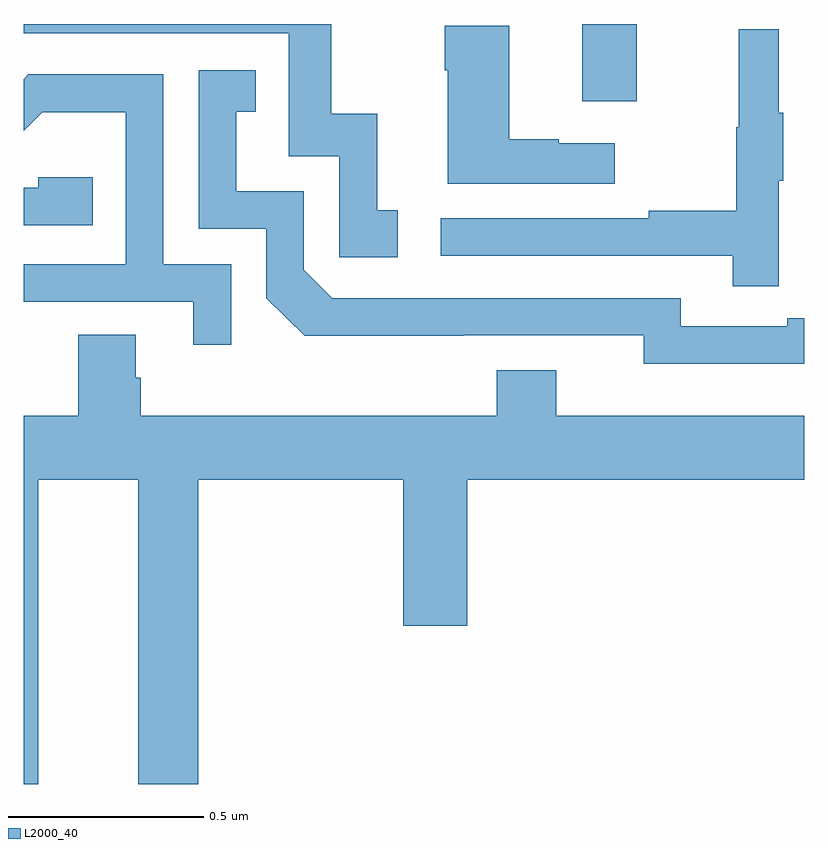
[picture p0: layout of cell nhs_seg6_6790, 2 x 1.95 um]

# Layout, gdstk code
import gdstk
lib = gdstk.Library(unit=1e-6, precision=1e-09)
def R(c, l, rs):  # rectangles x0, y0, x1, y1
    for r in rs: c.add(gdstk.rectangle(r[:2], r[2:], *l))
def P(c, l, *ps):  # polygons
    for p in ps: c.add(gdstk.Polygon(p, *l))
L2000_40 = (2000, 40)

nhs_seg6_6790 = lib.new_cell('nhs_seg6_6790')
R(nhs_seg6_6790, L2000_40, [(201.431,952.302,201.571,952.5)])
P(nhs_seg6_6790, L2000_40, [(200.959,952.023),(200.906,952.023),(200.906,952.27),(200.788,952.27),(200.788,952.5),(200,952.5),(200,952.476),(200.679,952.476),(200.679,952.161),(200.808,952.161),(200.808,951.903),(200.959,951.903)],
  [(201.514,952.195),(201.371,952.195),(201.371,952.205),(201.244,952.205),(201.244,952.495),(201.079,952.495),(201.079,952.382),(201.086,952.382),(201.086,952.091),(201.514,952.091)],
  [(201.935,952.099),(201.946,952.099),(201.946,952.273),(201.935,952.273),(201.935,952.486),(201.832,952.486),(201.832,952.236),(201.825,952.236),(201.825,952.022),(201.601,952.022),(201.601,952.002),(201.069,952.002),(201.069,951.906),(201.817,951.906),(201.817,951.828),(201.935,951.828)],
  [(201.956,951.63),(202,951.63),(202,951.746),(201.956,951.746),(201.956,951.726),(201.684,951.726),(201.684,951.798),(200.79,951.798),(200.718,951.87),(200.718,952.071),(200.545,952.071),(200.545,952.275),(200.594,952.275),(200.594,952.381),(200.448,952.381),(200.448,951.975),(200.622,951.975),(200.622,951.798),(200.72,951.701),(201.128,951.701),(201.128,951.702),(201.588,951.702),(201.588,951.629),(201.956,951.629)],
  [(200.532,951.885),(200.358,951.885),(200.358,952.371),(200.012,952.371),(200,952.359),(200,952.226),(200.048,952.274),(200.262,952.274),(200.262,951.885),(200,951.885),(200,951.789),(200.435,951.789),(200.435,951.678),(200.532,951.678)],
  [(200.177,952.107),(200.037,952.107),(200.037,952.08),(200,952.08),(200,951.984),(200.177,951.984)],
  [(200.038,951.332),(200.294,951.332),(200.294,950.553),(200.447,950.553),(200.447,951.332),(200.972,951.332),(200.972,950.958),(201.136,950.958),(201.136,951.332),(202,951.332),(202,951.496),(201.364,951.496),(201.364,951.613),(201.212,951.613),(201.212,951.496),(200.3,951.496),(200.3,951.594),(200.287,951.594),(200.287,951.704),(200.14,951.704),(200.14,951.496),(200,951.496),(200,950.553),(200.038,950.553)])

lib.write_gds('nhs_seg6_6790.gds')
